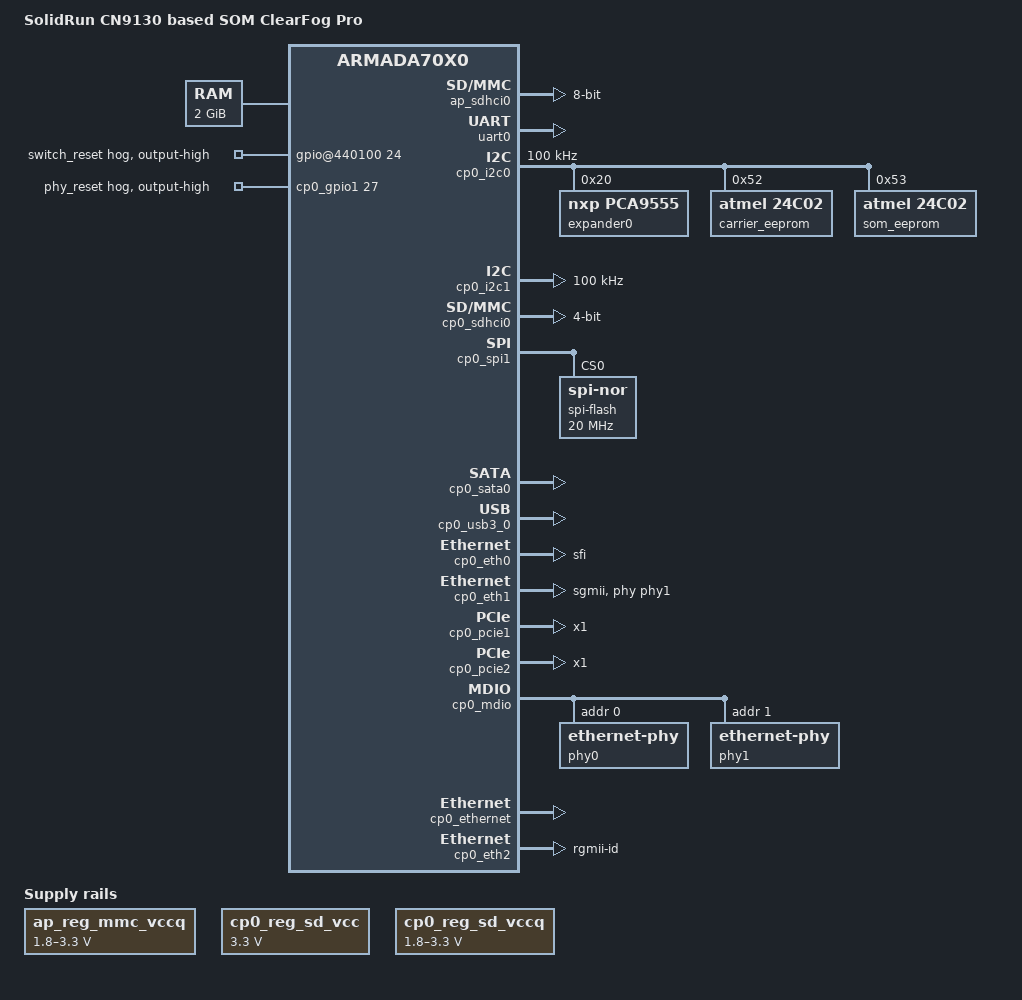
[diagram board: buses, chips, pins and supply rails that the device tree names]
/*
 * Copyright (C) 2020 SolidRun ltd.
 *
 * SPDX-License-Identifier:    GPL-2.0
 * https://spdx.org/licenses
 */

/* cn9130-cex7-A.dts */
#include "cn9130-som.dtsi"

/ {
	model = "SolidRun CN9130 based SOM ClearFog Pro";
	compatible = "marvell,cn9130-db", "marvell,cn91xx", "marvell,cn9030-vd",
		     "marvell,cn9030", "marvell,armada-ap806-quad",
		     "marvell,armada-ap806", "marvell,armada70x0";

	chosen {
		stdout-path = "serial0:115200n8";
	};

	aliases {
		i2c0 = &cp0_i2c0;
		i2c1 = &cp0_i2c1;
		spi0 = &cp0_spi1;
		gpio0 = &ap_gpio0;
		gpio1 = &cp0_gpio0;
		gpio2 = &cp0_gpio1;
	};

	memory@00000000 {
		device_type = "memory";
		reg = <0x0 0x0 0x0 0x80000000>;
	};

	cp0 {
		config-space {
			sdhci@780000 {
				vqmmc-supply = <&cp0_reg_sd_vccq>;
				vmmc-supply = <&cp0_reg_sd_vcc>;
			};
			ap_reg_mmc_vccq: ap_mmc_vccq@0 {
				compatible = "regulator-gpio";
				regulator-name = "ap_mmc_vccq";
				regulator-min-microvolt = <1800000>;
				regulator-max-microvolt = <3300000>;
				gpios = <&cp0_gpio0 26 GPIO_ACTIVE_HIGH>;
				states = <1800000 0x1
					3300000 0x0>;
			};
			cp0_reg_sd_vcc: cp0_sd_vcc@0 {
				compatible = "regulator-fixed";
				regulator-name = "cp_sd_vcc";
				regulator-min-microvolt = <3300000>;
				regulator-max-microvolt = <3300000>;
				regulator-always-on;
				status = "okay";
			};
			cp0_reg_sd_vccq: cp0_sd_vccq@0 {
				compatible = "regulator-gpio";
				regulator-name = "cp0_sd_vccq";
				regulator-min-microvolt = <1800000>;
				regulator-max-microvolt = <3300000>;
				gpios = <&cp0_gpio1 26 GPIO_ACTIVE_HIGH>;
				enable-active-high;
				states = <1800000 0x1
					3300000 0x0>;
			};
		};
		gpio@440100 {
			p24 {
				gpio-hog;
				gpios = <24 GPIO_ACTIVE_HIGH>;
				output-high;
				line-name = "switch_reset";
			};
		};
	};
};


/***** AP related configuration *****/
&ap_pinctl {
	/* MPP Bus:
	 * SDIO  [0-10, 12]
	 * UART0 [11,19]
	 */
		/*   0 1 2 3 4 5 6 7 8 9 */
	pin-func = < 1 1 1 1 1 1 1 1 1 1
		     1 3 1 0 0 0 0 0 0 3 >;
/*	ap_emmc_pins: emmc-pins-0 {
		marvell,pins = < 0 1 2 3 4 5 6 7
				8 9 10 12 >;
		marvell,function = <1>;
	};*/
};


/* on-board eMMC */
&ap_sdhci0 {
        pinctrl-names = "default";
        pinctrl-0 = <&ap_emmc_pins>; /*defined in armada-ap80x.dtsi */
        vqmmc-supply = <&ap_reg_mmc_vccq>;
        bus-width = <8>;
        status = "okay";
};

&uart0 {
        status = "okay";
};

/****** CP related configuration  ******/

&cp0_pinctl {
	/* MPP Bus:
	*	[0-1] 	SMI MDC/MDIO
	*	[2-3]	UART1 TX/RX
	*	[4-5]	UART1 RTS/CTS
	*	[6-8]	PTP
	*	[10-11] GPIO - SPD Strap
	*	[12-16]	SPI1
	*	[17-26]	GPIO - Boot straps
	*	[27-34]	GPIO
	*	[35-36]	I2C1
	*	[37-38]	I2C1
	*	[39] 	GPIO
	*	[40] 	RCVR CLK
	*	[41]	GPIO VHV_EN
	*	[43]	SD CARD DT
	*	[44-55]	RGMII
	*	[56-61]	SDIO
	*/
		   /*   0   1   2   3   4   5   6   7   8   9 */
	pin-func = <	0xa 0xa 8   8   6   6   9   9   9   0
			0   0   3   3   3   3   3   0   0   0
			0   0   0   0   0   0   0   0   0   0
			0   0   0   0   0   2   2   2   2   0
			2   0   0   1   1   1   1   1   1   1
			1   1   1   1   1   1  0xe 0xe 0xe 0xe
			0xe 0xe 0 >;
};


&cp0_i2c0 {
	pinctrl-names = "default";
	pinctrl-0 = <&cp0_i2c0_pins>;
	status = "okay";
	clock-frequency = <100000>;

	/*
	 * PCA9655 GPIO expander, up to 1MHz clock.
	 *  0-CON3 CLKREQ#
	 *  1-CON3 PERST#
	 *  2-
	 *  3-CON3 W_DISABLE
	 *  4-
	 *  5-USB3 overcurrent
	 *  6-USB3 power
	 *  7-
	 *  8-JP4 P1
	 *  9-JP4 P4
	 * 10-JP4 P5
	 * 11-m.2 DEVSLP
	 * 12-SFP_LOS
	 * 13-SFP_TX_FAULT
	 * 14-SFP_TX_DISABLE
	 * 15-SFP_MOD_DEF0
	 */
	expander0: gpio-expander@20 {
		/*
		 * This is how it should be:
		 * compatible = "onnn,pca9655", "nxp,pca9555";
		 * but you can't do this because of the way I2C works.
		 */
		compatible = "nxp,pca9555";
		gpio-controller;
		#gpio-cells = <2>;
		reg = <0x20>;

		pcie1_0_clkreq {
			gpio-hog;
			gpios = <0 GPIO_ACTIVE_LOW>;
			input;
			line-name = "pcie1.0-clkreq";
		};
		pcie1_0_perst {
			gpio-hog;
			gpios = <3 GPIO_ACTIVE_LOW>;
			output-low;
			line-name = "pcie1.0-perst";
		};
		pcie2_0_clkreq {
			gpio-hog;
			gpios = <4 GPIO_ACTIVE_LOW>;
			input;
			line-name = "pcie2.0-clkreq";
		};
		usb3_ilimit {
			gpio-hog;
			gpios = <5 GPIO_ACTIVE_LOW>;
			input;
			line-name = "usb3-current-limit";
		};
		usb3_power {
			gpio-hog;
			gpios = <6 GPIO_ACTIVE_HIGH>;
			output-high;
			line-name = "usb3-power";
		};
		pcie2_0_w_disable {
			gpio-hog;
			gpios = <8 GPIO_ACTIVE_LOW>;
			output-low;
			line-name = "pcie2.0-w-disable";
		};

		pcie2_0_gnss_disable {
			gpio-hog;
			gpios = <9 GPIO_ACTIVE_LOW>;
			output-low;
			line-name = "pcie2.0-gnss-disable";
		};

		m2_devslp {
			gpio-hog;
			gpios = <11 GPIO_ACTIVE_HIGH>;
			output-low;
			line-name = "m.2 devslp";
		};
	};

	/* 24AA025UID */
	carrier_eeprom@52 {
		compatible = "atmel,24c02";
		reg = <0x52>;
		pagesize = <8>;
	};

	/* M24C02-WMN6TP */
	som_eeprom@53 {
		compatible = "atmel,24c02";
		reg = <0x53>;
		pagesize = <16>;
	};
};

&cp0_i2c1 {
	status = "okay";
	pinctrl-names = "default";
	pinctrl-0 = <&cp0_i2c1_pins>;
	clock-frequency = <100000>;
};

/* SD CARD */
&cp0_sdhci0 {
	pinctrl-names = "default";
	pinctrl-0 = <&cp0_sdhci_pins
		     &cp0_sdhci_cd_pins>;
	bus-width = <4>;
	status = "okay";
	no-1-8-v;
};

/* SPI NOR  */
&cp0_spi1 {
	pinctrl-names = "default";
	pinctrl-0 = <&cp0_spi1_pins
		     &cp0_spi1_cs1_pins>;
	reg =	<0x700680 0x50>,	/* control */
		<0x2000000 0x1000000>,	/* CS0 */
		<0x2000000 0x1000004>,	/* CS1 */
		<0 0xffffffff>,		/* CS2 */
		<0 0xffffffff>;		/* CS3 */
	status = "okay";

	spi-flash@0 {
		#address-cells = <0x1>;
		#size-cells = <0x1>;
		compatible = "jedec,spi-nor", "spi-flash";
		reg = <0>;
		/* On-board MUX does not allow higher frequencies */
		spi-max-frequency = <20000000>;
	};
};

&cp0_comphy {
	phy0 {
		phy-type = <COMPHY_TYPE_SATA1>;
	};

	phy1 {
		phy-type = <COMPHY_TYPE_USB3_HOST0>;
	};

	phy2 {
		phy-type = <COMPHY_TYPE_SFI0>;
		phy-speed = <COMPHY_SPEED_10_3125G>;
	};

	phy3 {
		phy-type = <COMPHY_TYPE_SGMII1>;
                phy-speed = <COMPHY_SPEED_1_25G>;
	};

	phy4 {
		phy-type = <COMPHY_TYPE_PEX1>;
	};

	phy5 {
		phy-type = <COMPHY_TYPE_PEX2>;
	};
};

/* SRDS #0 - SATA1 on ahci0 on M.2 slot */
&cp0_sata0 {
	status = "okay";
};

/* SRDS #1 - USB 3.0 host */
&cp0_usb3_0 {
	status = "okay";
};

/* SRDS #2 - 10GE SFP+ */
&cp0_eth0 {
	status = "okay";
	phy-mode = "sfi";
	compatible = "sff,sfp";
	i2c-bus = <&cp0_i2c1>;
	los-gpio = <&expander0 12 GPIO_ACTIVE_HIGH>;
	mod-def0-gpio = <&expander0 15 GPIO_ACTIVE_LOW>;
	tx-disable-gpio = <&expander0 14 GPIO_ACTIVE_HIGH>;
	tx-fault-gpio = <&expander0 13 GPIO_ACTIVE_HIGH>;
	maximum-power-milliwatt = <2000>;
};

/* SRDS #3 - 1GE PHY over SGMII */
&cp0_eth1 {
	status = "okay";
	phy = <&phy1>;
	phy-mode = "sgmii";
};

/* SRDS #4 - PCIe on mini PCIe connector */
&cp0_pcie1 {
	num-lanes = <1>;
	marvell,reset-gpio = <&expander0 2 GPIO_ACTIVE_LOW>;
	status = "okay";
};

/* SRDS #5 - mini PCIE slot */
&cp0_pcie2 {
	num-lanes = <1>;
	marvell,reset-gpio = <&expander0 1 GPIO_ACTIVE_LOW>;
	status = "okay";
};

/* CP0 MDIO connected to local SOM 1Gbps phy and carrier 88E1512 phy */
&cp0_mdio {
	status = "okay";
	pinctrl-0 = <&cp0_mdio_pins>;
	phy0: ethernet-phy@0 {
		marvell,reg-init = <3 16 0 0x1a4a>;
		reg = <0>;
	};
	phy1: ethernet-phy@1 {
		marvell,reg-init = <3 16 0 0x1a4a>;
		reg = <1>;
	};
};

&cp0_gpio1 {
	phy_reset { /* Release switch reset */
		gpio-hog;
		gpios = <27 GPIO_ACTIVE_HIGH>;
		output-high;
	};
};

&cp0_ethernet {
	status = "okay";
};

/* 1GE PHY over RGMII */
&cp0_eth2 {
	status = "okay";
//	phy = <&phy0>;
	phy-mode = "rgmii-id";
};

&cp0_pinctl {
	compatible = "marvell,mvebu-pinctrl", "marvell,armada-8k-cpm-pinctrl";
	bank-name ="cp0-110";

	cp0_i2c0_pins: cp0-i2c-pins-0 {
		marvell,pins = < 37 38 >;
		marvell,function = <2>;
	};
	cp0_i2c1_pins: cp0-i2c-pins-1 {
		marvell,pins = < 35 36 >;
		marvell,function = <2>;
	};
	cp0_ge2_rgmii_pins: cp0-ge-rgmii-pins-1 {
                marvell,pins = < 44 45 46 47 48 49 50 51
                                52 53 54 55 >;
                marvell,function = <1>;
	};
	cp0_sdhci_pins: cp0-sdhi-pins-0 {
		marvell,pins = < 56 57 58 59 60 61 >;
		marvell,function = <14>;
	};
	cp0_sdhci_cd_pins: cp0-sdhci-cd-pins-0 {
		marvell,pins = < 43 >;
		marvell,function = <1>;
	};
	cp0_spi1_pins: cp0-spi-pins-0 {
		marvell,pins = < 13 14 15 16 >;
		marvell,function = <3>;
	};
	cp0_spi1_cs1_pins: cp0-spi-cs1-pins-0 {
		marvell,pins = < 12 >;
		marvell,function = <3>;
	};
	cp0_mdio_pins: cp0-mdio-pins {
                marvell,pins = < 40 41 >;
                marvell,function = <10>;
        };
};
